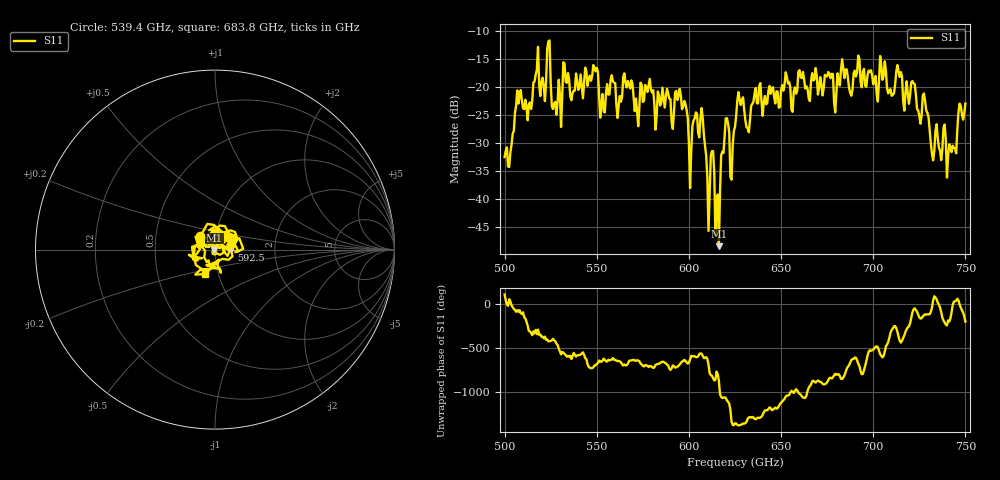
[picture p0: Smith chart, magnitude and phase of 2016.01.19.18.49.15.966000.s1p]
!Created with skrf (http://scikit-rf.org).
# GHz S RI R 50.0
!freq ReS11 ImS11
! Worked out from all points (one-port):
!   401 points, 500 GHz to 750 GHz, reference 50 ohm
!   lowest |S11| = -48.3 dB at 616.2 GHz (marker M1), VSWR 1.01, Z = 49.7 - j0.194 ohm
!   |S11| at or under -10 dB: start of sweep to end of sweep
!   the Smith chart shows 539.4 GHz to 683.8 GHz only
!   S11 on the Smith chart (normalised r, x): 539.4 GHz: 0.83, +0.13; 592.5 GHz: 1.20, -0.00; 683.8 GHz: 0.86, -0.24
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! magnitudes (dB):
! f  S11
! 500 GHz  -32.4
! 516.9 GHz  -17.7
! 520.6 GHz  -18.3
! 523.8 GHz  -11.8
! 526.9 GHz  -22.9
! 531.2 GHz  -21.6
! 539.4 GHz  -18.8
! 549.4 GHz  -17.2
! 553.1 GHz  -21.2
! 558.8 GHz  -18.9
! 562.5 GHz  -21.6
! 565.6 GHz  -19.3
! 592.5 GHz  -20.9
! 593.8 GHz  -22.3
! 600.6 GHz  -38.0
! 607.5 GHz  -25.6
! 610 GHz  -36.1
! 616.2 GHz  -48.3
! 620 GHz  -25.6
! 623.1 GHz  -36.5
! 625 GHz  -27.1
! 656.2 GHz  -24.4
! 683.8 GHz  -16.6
! 687.5 GHz  -21.0
! 705 GHz  -18.7
! 718.8 GHz  -21.2
! 741.2 GHz  -30.2
! 750 GHz  -22.9
